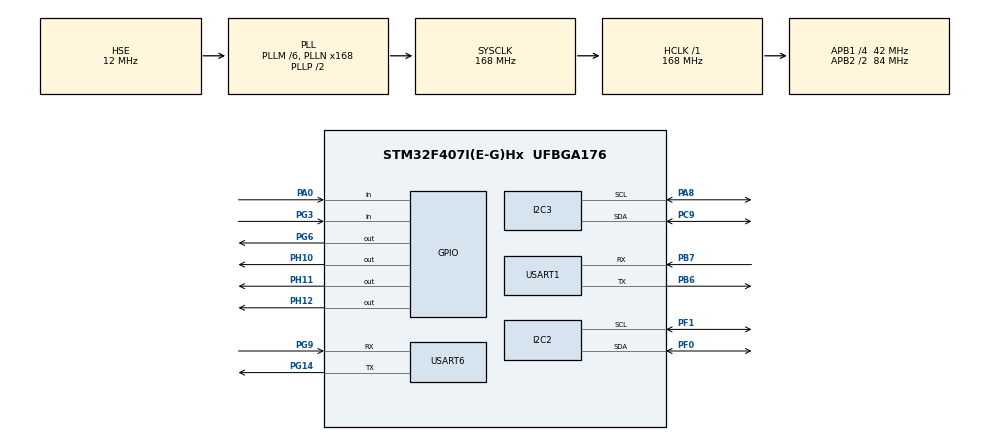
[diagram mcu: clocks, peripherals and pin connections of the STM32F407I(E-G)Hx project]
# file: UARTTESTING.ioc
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Dma.Request0=USART1_RX
Dma.Request1=USART1_TX
Dma.Request2=USART6_RX
Dma.USART1_RX.0.Direction=DMA_PERIPH_TO_MEMORY
Dma.USART1_RX.0.FIFOMode=DMA_FIFOMODE_DISABLE
Dma.USART1_RX.0.Instance=DMA2_Stream2
Dma.USART1_RX.0.MemDataAlignment=DMA_MDATAALIGN_BYTE
Dma.USART1_RX.0.MemInc=DMA_MINC_ENABLE
Dma.USART1_RX.0.Mode=DMA_NORMAL
Dma.USART1_RX.0.PeriphDataAlignment=DMA_PDATAALIGN_BYTE
Dma.USART1_RX.0.PeriphInc=DMA_PINC_DISABLE
Dma.USART1_RX.0.Priority=DMA_PRIORITY_VERY_HIGH
Dma.USART1_TX.1.Direction=DMA_MEMORY_TO_PERIPH
Dma.USART1_TX.1.FIFOMode=DMA_FIFOMODE_DISABLE
Dma.USART1_TX.1.Instance=DMA2_Stream7
Dma.USART1_TX.1.MemDataAlignment=DMA_MDATAALIGN_BYTE
Dma.USART1_TX.1.MemInc=DMA_MINC_ENABLE
Dma.USART1_TX.1.Mode=DMA_NORMAL
Dma.USART1_TX.1.PeriphDataAlignment=DMA_PDATAALIGN_BYTE
Dma.USART1_TX.1.PeriphInc=DMA_PINC_DISABLE
Dma.USART1_TX.1.Priority=DMA_PRIORITY_VERY_HIGH
Dma.USART6_RX.2.Direction=DMA_PERIPH_TO_MEMORY
Dma.USART6_RX.2.FIFOMode=DMA_FIFOMODE_DISABLE
Dma.USART6_RX.2.Instance=DMA2_Stream1
Dma.USART6_RX.2.MemDataAlignment=DMA_MDATAALIGN_BYTE
Dma.USART6_RX.2.MemInc=DMA_MINC_ENABLE
Dma.USART6_RX.2.Mode=DMA_NORMAL
Dma.USART6_RX.2.PeriphDataAlignment=DMA_PDATAALIGN_BYTE
Dma.USART6_RX.2.PeriphInc=DMA_PINC_DISABLE
Dma.USART6_RX.2.Priority=DMA_PRIORITY_VERY_HIGH
I2C3.I2C_Mode=I2C_Fast
Mcu.Family=STM32F4
Mcu.Name=STM32F407I(E-G)Hx
Mcu.Package=UFBGA176
NVIC.DMA2_Stream1_IRQn=true\:0\:0\:false\:false\:true\:false\:true\:true
NVIC.DMA2_Stream2_IRQn=true\:0\:0\:false\:false\:true\:false\:true\:true
NVIC.DMA2_Stream7_IRQn=true\:0\:0\:false\:false\:true\:false\:true\:true
NVIC.PriorityGroup=NVIC_PRIORITYGROUP_4
PA0-WKUP.Signal=GPIO_Input
PA8.GPIO_Pu=GPIO_PULLUP
PA8.Mode=I2C
PA8.Signal=I2C3_SCL
PB6.Mode=Asynchronous
PB6.Signal=USART1_TX
PB7.Mode=Asynchronous
PB7.Signal=USART1_RX
PC9.GPIO_Pu=GPIO_PULLUP
PC9.Mode=I2C
PC9.Signal=I2C3_SDA
PF0.GPIO_Pu=GPIO_PULLUP
PF0.Mode=I2C
PF0.Signal=I2C2_SDA
PF1.GPIO_Pu=GPIO_PULLUP
PF1.Mode=I2C
PF1.Signal=I2C2_SCL
PG14.Mode=Asynchronous
PG14.Signal=USART6_TX
PG3.Signal=GPIO_Input
PG6.Signal=GPIO_Output
PG9.Mode=Asynchronous
PG9.Signal=USART6_RX
PH0-OSC_IN.Mode=HSE-External-Oscillator
PH0-OSC_IN.Signal=RCC_OSC_IN
PH1-OSC_OUT.Mode=HSE-External-Oscillator
PH1-OSC_OUT.Signal=RCC_OSC_OUT
PH10.Signal=GPIO_Output
PH11.Signal=GPIO_Output
PH12.Signal=GPIO_Output
ProjectManager.HeapSize=0x200
ProjectManager.StackSize=0x400
ProjectManager.TargetToolchain=STM32CubeIDE
RCC.48MHZClocksFreq_Value=84000000
RCC.AHBFreq_Value=168000000
RCC.APB1CLKDivider=RCC_HCLK_DIV4
RCC.APB1Freq_Value=42000000
RCC.APB1TimFreq_Value=84000000
RCC.APB2CLKDivider=RCC_HCLK_DIV2
RCC.APB2Freq_Value=84000000
RCC.APB2TimFreq_Value=168000000
RCC.CortexFreq_Value=168000000
RCC.HCLKFreq_Value=168000000
RCC.HSE_VALUE=12000000
RCC.HSI_VALUE=16000000
RCC.LSE_VALUE=32768
RCC.PLLM=6
RCC.PLLN=168
RCC.PLLSourceVirtual=RCC_PLLSOURCE_HSE
RCC.SYSCLKFreq_VALUE=168000000
RCC.SYSCLKSource=RCC_SYSCLKSOURCE_PLLCLK
RCC.VCOOutputFreq_Value=336000000
USART1.VirtualMode=VM_ASYNC
USART6.VirtualMode=VM_ASYNC
board=custom

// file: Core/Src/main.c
/* USER CODE BEGIN Header */
/**
  ******************************************************************************
  * @file           : main.c
  * @brief          : Main program body
  ******************************************************************************
  * @attention
  *
  * Copyright (c) 2025 STMicroelectronics.
  * All rights reserved.
  *
  * This software is licensed under terms that can be found in the LICENSE file
  * in the root directory of this software component.
  * If no LICENSE file comes with this software, it is provided AS-IS.
  *
  ******************************************************************************
  */
/* USER CODE END Header */
#include "main.h"

I2C_HandleTypeDef hi2c2;
I2C_HandleTypeDef hi2c3;

UART_HandleTypeDef huart1;
UART_HandleTypeDef huart6;
DMA_HandleTypeDef hdma_usart1_rx;
DMA_HandleTypeDef hdma_usart1_tx;
DMA_HandleTypeDef hdma_usart6_rx;

void SystemClock_Config(void);
static void MX_GPIO_Init(void);
static void MX_DMA_Init(void);
static void MX_USART6_UART_Init(void);
static void MX_USART1_UART_Init(void);
static void MX_I2C3_Init(void);
static void MX_I2C2_Init(void);

/* USER CODE BEGIN 0 */

void performanceOptimization() {
	//uint8_t dataToSend = 0xC0;
	uint8_t whoAmI = 0;
	HAL_GPIO_WritePin(GPIOG, GPIO_PIN_6, 0);
	HAL_Delay(50);
	HAL_GPIO_WritePin(GPIOG, GPIO_PIN_6, 1);
	HAL_Delay(50);
	// uint8_t tx_buff[]={0,1,2,3,4,5,6,7,8,9};
	// HAL_UART_Transmit(&huart6, tx_buff, 10, 100);

	HAL_I2C_Mem_Read(&hi2c3, 0x1C, 0x00, 1, &whoAmI, 1, 50);

	HAL_Delay(50);

	// HAL_UART_Transmit(&huart6, &whoAmI, 1, 50);
	// HAL_I2C_Mem_Write(&hi2c3, 0x1C, 0x00, 1, &dataToSend, 1, 100);

	// HAL_I2C_Mem_Write(&hi2c3, 0x1C, 0x42, 1, &dataToSend, 1, 100);
}

void enterSMM() {

		uint8_t dataToSend = 0x01;
		HAL_I2C_Mem_Write(&hi2c3, 0x1C, 0x0A, 1, &dataToSend, 1, 100);
		// HAL_I2C_Master_Transmit_IT(&hi2c3, 0x0E<<1, dataToSend, 2);

		// uint8_t tx_buff[]={0,1,2,3,4,5,6,7,8,9};
		// HAL_UART_Transmit(&huart6, tx_buff, 10, 1000);

	/*
	uint8_t tx_buff[]={0,1,2,3,4,5,6,7,8,9};
	HAL_UART_Transmit(&huart6, tx_buff, 10, 1000);
	*/
}

void processData1(int16_t processedData[3], uint8_t unprocessedData[6]) {

	for (uint8_t i = 0; i < 3; i++) {
		// memcpy(&processedData[i], &unprocessedData[i*2], 2);
		processedData[i] = 0;
		processedData[i] += unprocessedData[i*2];
		processedData[i] += unprocessedData[(i*2)+1] << 8;

	}

	// usart_printf("%d %d %d\r\n", processedData[0], processedData[1], processedData[2]);
}

void readSMM() {

}

void setLNP() {

}

/* USER CODE END 0 */

int main(void)
{

  /* MCU Configuration--------------------------------------------------------*/

  /* Reset of all peripherals, Initializes the Flash interface and the Systick. */
  HAL_Init();

  /* Configure the system clock */
  SystemClock_Config();

  /* Initialize all configured peripherals */
  MX_GPIO_Init();
  MX_DMA_Init();
  MX_USART6_UART_Init();
  MX_USART1_UART_Init();
  MX_I2C3_Init();
  MX_I2C2_Init();
  /* USER CODE BEGIN 2 */
  performanceOptimization();

  // uint8_t dataToSend[] = {(0x42) | 0x00, 0xC0};
  // HAL_I2C_Master_Transmit_IT(&hi2c3, 0x0E<<1, dataToSend, 2);

  // performanceOptimization();
  int8_t hasBeenPressed = 0;
  int8_t boolOn = 0;
  uint8_t tx_buff[6]={0, 0, 0, 0, 0, 0};
  int16_t processedValues[3] = {0, 0, 0};
  uint8_t whoAmI = 0;
  /* USER CODE END 2 */

  /* Infinite loop */
  while (1)
  {

    /* USER CODE BEGIN 3 */
	  if (HAL_GPIO_ReadPin(GPIOA, GPIO_PIN_0) == 0) {

		  enterSMM();

		  hasBeenPressed = 1;

		  HAL_Delay(50);

		  // HAL_I2C_Mem_Read(&hi2c3, 0x1C, 0x03, 1, tx_buff, 6, 100);

		  HAL_Delay(50);
		  // HAL_UART_Transmit(&huart6, tx_buff, 6, 100);

		  // usart_printf("%d %d %d %d %d %d\r\n", tx_buff[0], tx_buff[1], tx_buff[2], tx_buff[3], tx_buff[4], tx_buff[5]);

		  // processData(processedValues, tx_buff);

	  }

	  // HAL_UART_Transmit(&huart6, tx_buff, 6, 100);
	  /*
	  HAL_I2C_Mem_Read(&hi2c3, 0x1C, 0x00, 1, &whoAmI, 1, 50);

	  HAL_Delay(50);

	  HAL_UART_Transmit(&huart6, &whoAmI, 1, 50);
	  */

	  if (hasBeenPressed == 1) {
		  HAL_GPIO_WritePin(GPIOH, GPIO_PIN_12, 1);
	  } else {
		  HAL_GPIO_WritePin(GPIOH, GPIO_PIN_12, 0);
	  }

	  if (HAL_GPIO_ReadPin(GPIOG, GPIO_PIN_3) == 1) {
		  boolOn = 1;
	  }
	  if (boolOn == 1) {
		  HAL_GPIO_WritePin(GPIOH, GPIO_PIN_11, 1);
	  } else {
		  HAL_GPIO_WritePin(GPIOH, GPIO_PIN_11, 0);
	  }

	  // uint8_t dataToSend = 0xC0;
	  // HAL_I2C_Mem_Read(&hi2c2, 0xFE, 0x02, 1, &whoAmI, 1, 50);
	  // HAL_I2C_Master_Receive(&hi2c2, 0xFF, &dataToSend, 1, 10);

	  // HAL_I2C_Master_Transmit(&hi2c2, 0xFF, &dataToSend, 1, 10);
	  // HAL_I2C_Mem_Write(&hi2c2, 0x1C, 0x42, 1, &dataToSend, 1, 100);
	  /*
	  HAL_UART_Transmit(&huart1, tx_buff, 10, 1000);
	  HAL_Delay(1);
	  HAL_UART_Transmit(&huart6, tx_buff, 10, 1000);
	  */
	  HAL_Delay(2);
  }
  /* USER CODE END 3 */
}

void SystemClock_Config(void)
{
  RCC_OscInitTypeDef RCC_OscInitStruct = {0};
  RCC_ClkInitTypeDef RCC_ClkInitStruct = {0};

  /** Configure the main internal regulator output voltage
  */
  __HAL_RCC_PWR_CLK_ENABLE();
  __HAL_PWR_VOLTAGESCALING_CONFIG(PWR_REGULATOR_VOLTAGE_SCALE1);

  /** Initializes the RCC Oscillators according to the specified parameters
  * in the RCC_OscInitTypeDef structure.
  */
  RCC_OscInitStruct.OscillatorType = RCC_OSCILLATORTYPE_HSE;
  RCC_OscInitStruct.HSEState = RCC_HSE_ON;
  RCC_OscInitStruct.PLL.PLLState = RCC_PLL_ON;
  RCC_OscInitStruct.PLL.PLLSource = RCC_PLLSOURCE_HSE;
  RCC_OscInitStruct.PLL.PLLM = 6;
  RCC_OscInitStruct.PLL.PLLN = 168;
  RCC_OscInitStruct.PLL.PLLP = RCC_PLLP_DIV2;
  RCC_OscInitStruct.PLL.PLLQ = 4;
  if (HAL_RCC_OscConfig(&RCC_OscInitStruct) != HAL_OK)
  {
    Error_Handler();
  }

  /** Initializes the CPU, AHB and APB buses clocks
  */
  RCC_ClkInitStruct.ClockType = RCC_CLOCKTYPE_HCLK|RCC_CLOCKTYPE_SYSCLK
                              |RCC_CLOCKTYPE_PCLK1|RCC_CLOCKTYPE_PCLK2;
  RCC_ClkInitStruct.SYSCLKSource = RCC_SYSCLKSOURCE_PLLCLK;
  RCC_ClkInitStruct.AHBCLKDivider = RCC_SYSCLK_DIV1;
  RCC_ClkInitStruct.APB1CLKDivider = RCC_HCLK_DIV4;
  RCC_ClkInitStruct.APB2CLKDivider = RCC_HCLK_DIV2;

  if (HAL_RCC_ClockConfig(&RCC_ClkInitStruct, FLASH_LATENCY_5) != HAL_OK)
  {
    Error_Handler();
  }
}

static void MX_I2C2_Init(void)
{

  hi2c2.Instance = I2C2;
  hi2c2.Init.ClockSpeed = 100000;
  hi2c2.Init.DutyCycle = I2C_DUTYCYCLE_2;
  hi2c2.Init.OwnAddress1 = 0;
  hi2c2.Init.AddressingMode = I2C_ADDRESSINGMODE_7BIT;
  hi2c2.Init.DualAddressMode = I2C_DUALADDRESS_DISABLE;
  hi2c2.Init.OwnAddress2 = 0;
  hi2c2.Init.GeneralCallMode = I2C_GENERALCALL_DISABLE;
  hi2c2.Init.NoStretchMode = I2C_NOSTRETCH_DISABLE;
  if (HAL_I2C_Init(&hi2c2) != HAL_OK)
  {
    Error_Handler();
  }

}

static void MX_I2C3_Init(void)
{

  hi2c3.Instance = I2C3;
  hi2c3.Init.ClockSpeed = 400000;
  hi2c3.Init.DutyCycle = I2C_DUTYCYCLE_2;
  hi2c3.Init.OwnAddress1 = 0;
  hi2c3.Init.AddressingMode = I2C_ADDRESSINGMODE_7BIT;
  hi2c3.Init.DualAddressMode = I2C_DUALADDRESS_DISABLE;
  hi2c3.Init.OwnAddress2 = 0;
  hi2c3.Init.GeneralCallMode = I2C_GENERALCALL_DISABLE;
  hi2c3.Init.NoStretchMode = I2C_NOSTRETCH_DISABLE;
  if (HAL_I2C_Init(&hi2c3) != HAL_OK)
  {
    Error_Handler();
  }

}

static void MX_USART1_UART_Init(void)
{

  huart1.Instance = USART1;
  huart1.Init.BaudRate = 115200;
  huart1.Init.WordLength = UART_WORDLENGTH_8B;
  huart1.Init.StopBits = UART_STOPBITS_1;
  huart1.Init.Parity = UART_PARITY_NONE;
  huart1.Init.Mode = UART_MODE_TX_RX;
  huart1.Init.HwFlowCtl = UART_HWCONTROL_NONE;
  huart1.Init.OverSampling = UART_OVERSAMPLING_16;
  if (HAL_UART_Init(&huart1) != HAL_OK)
  {
    Error_Handler();
  }

}

static void MX_USART6_UART_Init(void)
{

  huart6.Instance = USART6;
  huart6.Init.BaudRate = 115200;
  huart6.Init.WordLength = UART_WORDLENGTH_8B;
  huart6.Init.StopBits = UART_STOPBITS_1;
  huart6.Init.Parity = UART_PARITY_NONE;
  huart6.Init.Mode = UART_MODE_TX_RX;
  huart6.Init.HwFlowCtl = UART_HWCONTROL_NONE;
  huart6.Init.OverSampling = UART_OVERSAMPLING_16;
  if (HAL_UART_Init(&huart6) != HAL_OK)
  {
    Error_Handler();
  }

}

static void MX_DMA_Init(void)
{

  /* DMA controller clock enable */
  __HAL_RCC_DMA2_CLK_ENABLE();

  /* DMA interrupt init */
  /* DMA2_Stream1_IRQn interrupt configuration */
  HAL_NVIC_SetPriority(DMA2_Stream1_IRQn, 0, 0);
  HAL_NVIC_EnableIRQ(DMA2_Stream1_IRQn);
  /* DMA2_Stream2_IRQn interrupt configuration */
  HAL_NVIC_SetPriority(DMA2_Stream2_IRQn, 0, 0);
  HAL_NVIC_EnableIRQ(DMA2_Stream2_IRQn);
  /* DMA2_Stream7_IRQn interrupt configuration */
  HAL_NVIC_SetPriority(DMA2_Stream7_IRQn, 0, 0);
  HAL_NVIC_EnableIRQ(DMA2_Stream7_IRQn);

}

static void MX_GPIO_Init(void)
{
  GPIO_InitTypeDef GPIO_InitStruct = {0};

  /* GPIO Ports Clock Enable */
  __HAL_RCC_GPIOG_CLK_ENABLE();
  __HAL_RCC_GPIOB_CLK_ENABLE();
  __HAL_RCC_GPIOF_CLK_ENABLE();
  __HAL_RCC_GPIOC_CLK_ENABLE();
  __HAL_RCC_GPIOA_CLK_ENABLE();
  __HAL_RCC_GPIOH_CLK_ENABLE();

  /*Configure GPIO pin Output Level */
  HAL_GPIO_WritePin(GPIOG, GPIO_PIN_6, GPIO_PIN_RESET);

  /*Configure GPIO pin Output Level */
  HAL_GPIO_WritePin(GPIOH, GPIO_PIN_12|GPIO_PIN_11|GPIO_PIN_10, GPIO_PIN_RESET);

  /*Configure GPIO pin : PG6 */
  GPIO_InitStruct.Pin = GPIO_PIN_6;
  GPIO_InitStruct.Mode = GPIO_MODE_OUTPUT_PP;
  GPIO_InitStruct.Pull = GPIO_NOPULL;
  GPIO_InitStruct.Speed = GPIO_SPEED_FREQ_LOW;
  HAL_GPIO_Init(GPIOG, &GPIO_InitStruct);

  /*Configure GPIO pins : PH12 PH11 PH10 */
  GPIO_InitStruct.Pin = GPIO_PIN_12|GPIO_PIN_11|GPIO_PIN_10;
  GPIO_InitStruct.Mode = GPIO_MODE_OUTPUT_PP;
  GPIO_InitStruct.Pull = GPIO_NOPULL;
  GPIO_InitStruct.Speed = GPIO_SPEED_FREQ_LOW;
  HAL_GPIO_Init(GPIOH, &GPIO_InitStruct);

  /*Configure GPIO pin : PG3 */
  GPIO_InitStruct.Pin = GPIO_PIN_3;
  GPIO_InitStruct.Mode = GPIO_MODE_INPUT;
  GPIO_InitStruct.Pull = GPIO_NOPULL;
  HAL_GPIO_Init(GPIOG, &GPIO_InitStruct);

  /*Configure GPIO pin : PA0 */
  GPIO_InitStruct.Pin = GPIO_PIN_0;
  GPIO_InitStruct.Mode = GPIO_MODE_INPUT;
  GPIO_InitStruct.Pull = GPIO_NOPULL;
  HAL_GPIO_Init(GPIOA, &GPIO_InitStruct);

}

void Error_Handler(void)
{
  __disable_irq();
  while (1)
  {
  }
}
